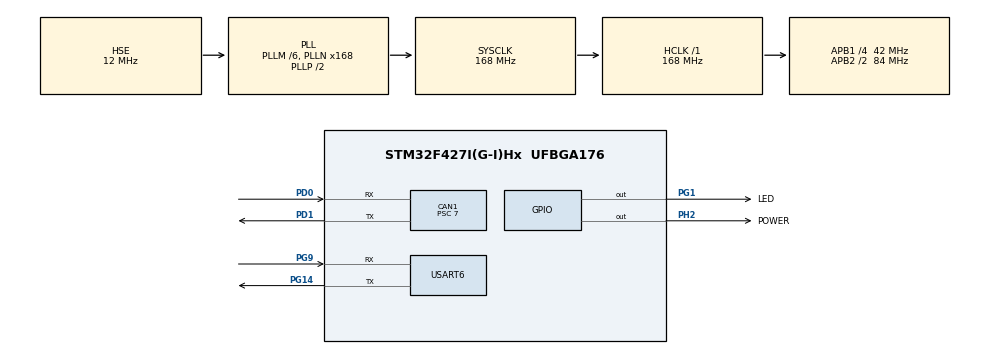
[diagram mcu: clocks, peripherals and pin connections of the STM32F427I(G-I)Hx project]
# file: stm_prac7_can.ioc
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CAN1.BS1=CAN_BS1_2TQ
CAN1.BS2=CAN_BS2_3TQ
CAN1.CalculateTimeQuantum=166.66666666666669
CAN1.Prescaler=7
CAN1.TXFP=ENABLE
Mcu.Family=STM32F4
Mcu.Name=STM32F427I(G-I)Hx
Mcu.Package=UFBGA176
NVIC.PriorityGroup=NVIC_PRIORITYGROUP_4
PD0.Mode=Master
PD0.Signal=CAN1_RX
PD1.Mode=Master
PD1.Signal=CAN1_TX
PG1.GPIO_Label=LED
PG1.GPIO_ModeDefaultOutputPP=GPIO_MODE_OUTPUT_PP
PG1.GPIO_PuPd=GPIO_NOPULL
PG1.GPIO_Speed=GPIO_SPEED_FREQ_LOW
PG1.PinState=GPIO_PIN_RESET
PG1.Signal=GPIO_Output
PG14.Mode=Asynchronous
PG14.Signal=USART6_TX
PG9.Mode=Asynchronous
PG9.Signal=USART6_RX
PH0/OSC_IN.Mode=HSE-External-Oscillator
PH0/OSC_IN.Signal=RCC_OSC_IN
PH1/OSC_OUT.Mode=HSE-External-Oscillator
PH1/OSC_OUT.Signal=RCC_OSC_OUT
PH2.GPIO_Label=POWER
PH2.GPIO_ModeDefaultOutputPP=GPIO_MODE_OUTPUT_PP
PH2.GPIO_PuPd=GPIO_NOPULL
PH2.GPIO_Speed=GPIO_SPEED_FREQ_LOW
PH2.PinState=GPIO_PIN_RESET
PH2.Signal=GPIO_Output
ProjectManager.HeapSize=0x200
ProjectManager.StackSize=0x400
ProjectManager.TargetToolchain=STM32CubeIDE
RCC.48MHZClocksFreq_Value=84000000
RCC.AHBFreq_Value=168000000
RCC.APB1CLKDivider=RCC_HCLK_DIV4
RCC.APB1Freq_Value=42000000
RCC.APB1TimFreq_Value=84000000
RCC.APB2CLKDivider=RCC_HCLK_DIV2
RCC.APB2Freq_Value=84000000
RCC.APB2TimFreq_Value=168000000
RCC.CortexFreq_Value=168000000
RCC.HCLKFreq_Value=168000000
RCC.HSE_VALUE=12000000
RCC.HSI_VALUE=16000000
RCC.LSE_VALUE=32768
RCC.PLLM=6
RCC.PLLN=168
RCC.PLLSourceVirtual=RCC_PLLSOURCE_HSE
RCC.SYSCLKFreq_VALUE=168000000
RCC.SYSCLKSource=RCC_SYSCLKSOURCE_PLLCLK
RCC.VCOOutputFreq_Value=336000000
USART6.VirtualMode=VM_ASYNC
board=custom

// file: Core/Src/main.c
/* USER CODE BEGIN Header */
/**
  ******************************************************************************
  * @file           : main.c
  * @brief          : Main program body
  ******************************************************************************
  * @attention
  *
  * <h2><center>&copy; Copyright (c) 2020 STMicroelectronics.
  * All rights reserved.</center></h2>
  *
  * This software component is licensed by ST under BSD 3-Clause license,
  * the "License"; You may not use this file except in compliance with the
  * License. You may obtain a copy of the License at:
  *                        opensource.org/licenses/BSD-3-Clause
  *
  ******************************************************************************
  */
/* USER CODE END Header */
#include "main.h"

/* USER CODE BEGIN Includes */
#include "xprintf.h"
/* USER CODE END Includes */

CAN_HandleTypeDef hcan1;

UART_HandleTypeDef huart6;

void SystemClock_Config(void);
static void MX_GPIO_Init(void);
static void MX_USART6_UART_Init(void);
static void MX_CAN1_Init(void);

/* USER CODE BEGIN 0 */
void uart_putc(uint8_t c){
	char buf[1];
	buf[0]=c;
	HAL_UART_Transmit(&huart6, (uint8_t *)buf, sizeof(buf), 0xFFFF);
}
CAN_TxHeaderTypeDef	TxHeader;
uint8_t           	TxData[8];
uint32_t           	TxMailbox;
uint8_t cnt;
/* USER CODE END 0 */

int main(void)
{
  /* USER CODE BEGIN 1 */
 	xdev_out(uart_putc);
  /* USER CODE END 1 */

  /* MCU Configuration--------------------------------------------------------*/

  /* Reset of all peripherals, Initializes the Flash interface and the Systick. */
  HAL_Init();

  /* Configure the system clock */
  SystemClock_Config();

  /* Initialize all configured peripherals */
  MX_GPIO_Init();
  MX_USART6_UART_Init();
  MX_CAN1_Init();
  /* USER CODE BEGIN 2 */
  int16_t u[4]={2000,2000,2000,2000};
  HAL_GPIO_WritePin(POWER_GPIO_Port, POWER_Pin, SET);
  HAL_Delay(1000);
  HAL_CAN_Start(&hcan1);
  /* USER CODE END 2 */

  /* Infinite loop */
  /* USER CODE BEGIN WHILE */
  while (1){
	  TxHeader.StdId = 0x1ff;
	  TxHeader.RTR = CAN_RTR_DATA;
	  TxHeader.IDE = CAN_ID_STD;
	  TxHeader.DLC = 8;
	  TxHeader.TransmitGlobalTime = DISABLE;
	  for (int i = 0; i < 3; i++) {
		  if (7680 < u[i]) {
			  u[i] = 7680 - 1;
		  } else if (u[i] < -7680) {
			  u[i] = -7680 + 1;
		  }
		  TxData[i * 2] = u[i] >> 8;
		  TxData[i * 2 + 1] = u[i] & 0xFF;
	  }
	  if(HAL_CAN_AddTxMessage(&hcan1, &TxHeader, TxData, &TxMailbox) != HAL_OK){
		  xprintf("Can out failure!!\r\n");
		  Error_Handler();
	  }
	  else{
		  xprintf("Can out success!!\r\n");
	  }
    /* USER CODE END WHILE */

  }
}

void SystemClock_Config(void)
{
  RCC_OscInitTypeDef RCC_OscInitStruct = {0};
  RCC_ClkInitTypeDef RCC_ClkInitStruct = {0};

  /** Configure the main internal regulator output voltage
  */
  __HAL_RCC_PWR_CLK_ENABLE();
  __HAL_PWR_VOLTAGESCALING_CONFIG(PWR_REGULATOR_VOLTAGE_SCALE1);
  /** Initializes the RCC Oscillators according to the specified parameters
  * in the RCC_OscInitTypeDef structure.
  */
  RCC_OscInitStruct.OscillatorType = RCC_OSCILLATORTYPE_HSE;
  RCC_OscInitStruct.HSEState = RCC_HSE_ON;
  RCC_OscInitStruct.PLL.PLLState = RCC_PLL_ON;
  RCC_OscInitStruct.PLL.PLLSource = RCC_PLLSOURCE_HSE;
  RCC_OscInitStruct.PLL.PLLM = 6;
  RCC_OscInitStruct.PLL.PLLN = 168;
  RCC_OscInitStruct.PLL.PLLP = RCC_PLLP_DIV2;
  RCC_OscInitStruct.PLL.PLLQ = 4;
  if (HAL_RCC_OscConfig(&RCC_OscInitStruct) != HAL_OK)
  {
    Error_Handler();
  }
  /** Initializes the CPU, AHB and APB buses clocks
  */
  RCC_ClkInitStruct.ClockType = RCC_CLOCKTYPE_HCLK|RCC_CLOCKTYPE_SYSCLK
                              |RCC_CLOCKTYPE_PCLK1|RCC_CLOCKTYPE_PCLK2;
  RCC_ClkInitStruct.SYSCLKSource = RCC_SYSCLKSOURCE_PLLCLK;
  RCC_ClkInitStruct.AHBCLKDivider = RCC_SYSCLK_DIV1;
  RCC_ClkInitStruct.APB1CLKDivider = RCC_HCLK_DIV4;
  RCC_ClkInitStruct.APB2CLKDivider = RCC_HCLK_DIV2;

  if (HAL_RCC_ClockConfig(&RCC_ClkInitStruct, FLASH_LATENCY_5) != HAL_OK)
  {
    Error_Handler();
  }
}

static void MX_CAN1_Init(void)
{

  hcan1.Instance = CAN1;
  hcan1.Init.Prescaler = 7;
  hcan1.Init.Mode = CAN_MODE_NORMAL;
  hcan1.Init.SyncJumpWidth = CAN_SJW_1TQ;
  hcan1.Init.TimeSeg1 = CAN_BS1_2TQ;
  hcan1.Init.TimeSeg2 = CAN_BS2_3TQ;
  hcan1.Init.TimeTriggeredMode = DISABLE;
  hcan1.Init.AutoBusOff = DISABLE;
  hcan1.Init.AutoWakeUp = DISABLE;
  hcan1.Init.AutoRetransmission = DISABLE;
  hcan1.Init.ReceiveFifoLocked = DISABLE;
  hcan1.Init.TransmitFifoPriority = ENABLE;
  if (HAL_CAN_Init(&hcan1) != HAL_OK)
  {
    Error_Handler();
  }

}

static void MX_USART6_UART_Init(void)
{

  huart6.Instance = USART6;
  huart6.Init.BaudRate = 115200;
  huart6.Init.WordLength = UART_WORDLENGTH_8B;
  huart6.Init.StopBits = UART_STOPBITS_1;
  huart6.Init.Parity = UART_PARITY_NONE;
  huart6.Init.Mode = UART_MODE_TX_RX;
  huart6.Init.HwFlowCtl = UART_HWCONTROL_NONE;
  huart6.Init.OverSampling = UART_OVERSAMPLING_16;
  if (HAL_UART_Init(&huart6) != HAL_OK)
  {
    Error_Handler();
  }

}

static void MX_GPIO_Init(void)
{
  GPIO_InitTypeDef GPIO_InitStruct = {0};

  /* GPIO Ports Clock Enable */
  __HAL_RCC_GPIOG_CLK_ENABLE();
  __HAL_RCC_GPIOD_CLK_ENABLE();
  __HAL_RCC_GPIOH_CLK_ENABLE();

  /*Configure GPIO pin Output Level */
  HAL_GPIO_WritePin(POWER_GPIO_Port, POWER_Pin, GPIO_PIN_RESET);

  /*Configure GPIO pin Output Level */
  HAL_GPIO_WritePin(LED_GPIO_Port, LED_Pin, GPIO_PIN_RESET);

  /*Configure GPIO pin : POWER_Pin */
  GPIO_InitStruct.Pin = POWER_Pin;
  GPIO_InitStruct.Mode = GPIO_MODE_OUTPUT_PP;
  GPIO_InitStruct.Pull = GPIO_NOPULL;
  GPIO_InitStruct.Speed = GPIO_SPEED_FREQ_LOW;
  HAL_GPIO_Init(POWER_GPIO_Port, &GPIO_InitStruct);

  /*Configure GPIO pin : LED_Pin */
  GPIO_InitStruct.Pin = LED_Pin;
  GPIO_InitStruct.Mode = GPIO_MODE_OUTPUT_PP;
  GPIO_InitStruct.Pull = GPIO_NOPULL;
  GPIO_InitStruct.Speed = GPIO_SPEED_FREQ_LOW;
  HAL_GPIO_Init(LED_GPIO_Port, &GPIO_InitStruct);

}

void Error_Handler(void)
{
}

/************************ (C) COPYRIGHT STMicroelectronics *****END OF FILE****/
